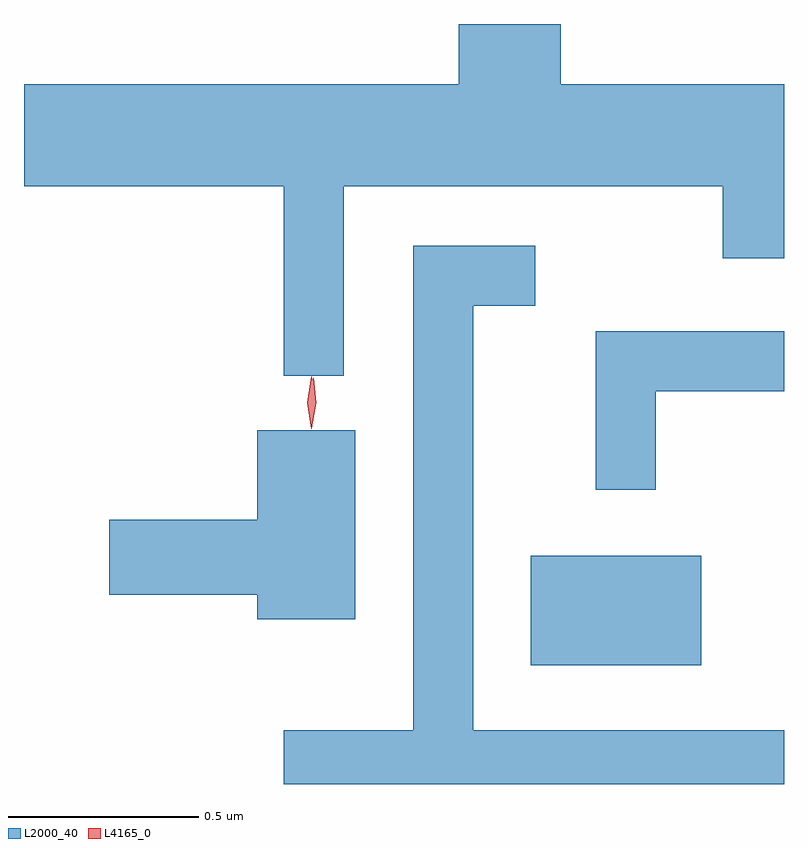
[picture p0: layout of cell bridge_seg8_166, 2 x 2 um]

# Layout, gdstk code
import gdstk
lib = gdstk.Library(unit=1e-6, precision=1e-09)
def R(c, l, rs):  # rectangles x0, y0, x1, y1
    for r in rs: c.add(gdstk.rectangle(r[:2], r[2:], *l))
def P(c, l, *ps):  # polygons
    for p in ps: c.add(gdstk.Polygon(p, *l))
L2000_40 = (2000, 40)
L4165_0 = (4165, 0)

bridge_seg8_166 = lib.new_cell('bridge_seg8_166')
R(bridge_seg8_166, L2000_40, [(1434.046,1935.056,1434.494,1935.344)])
P(bridge_seg8_166, L2000_40, [(1433.554,1936.316),(1434.551,1936.316),(1434.551,1936.126),(1434.712,1936.126),(1434.712,1936.584),(1434.124,1936.584),(1434.124,1936.743),(1433.856,1936.743),(1433.856,1936.584),(1432.712,1936.584),(1432.712,1936.316),(1433.396,1936.316),(1433.396,1935.818),(1433.554,1935.818)],
  [(1434.712,1934.884),(1433.894,1934.884),(1433.894,1936.001),(1434.058,1936.001),(1434.058,1936.159),(1433.736,1936.159),(1433.736,1934.884),(1433.396,1934.884),(1433.396,1934.743),(1434.712,1934.743)],
  [(1434.374,1935.776),(1434.712,1935.776),(1434.712,1935.934),(1434.216,1935.934),(1434.216,1935.518),(1434.374,1935.518)],
  [(1433.584,1935.674),(1433.326,1935.674),(1433.326,1935.439),(1432.936,1935.439),(1432.936,1935.241),(1433.326,1935.241),(1433.326,1935.176),(1433.584,1935.176)])
P(bridge_seg8_166, L4165_0, [(1433.468,1935.678),(1433.468,1935.678),(1433.458,1935.746),(1433.468,1935.815),(1433.468,1935.815),(1433.469,1935.815),(1433.478,1935.746),(1433.469,1935.678)],
  [(1433.468,1935.68),(1433.468,1935.681),(1433.461,1935.746),(1433.473,1935.811),(1433.474,1935.812),(1433.474,1935.811),(1433.481,1935.746),(1433.469,1935.681)])

lib.write_gds('bridge_seg8_166.gds')
